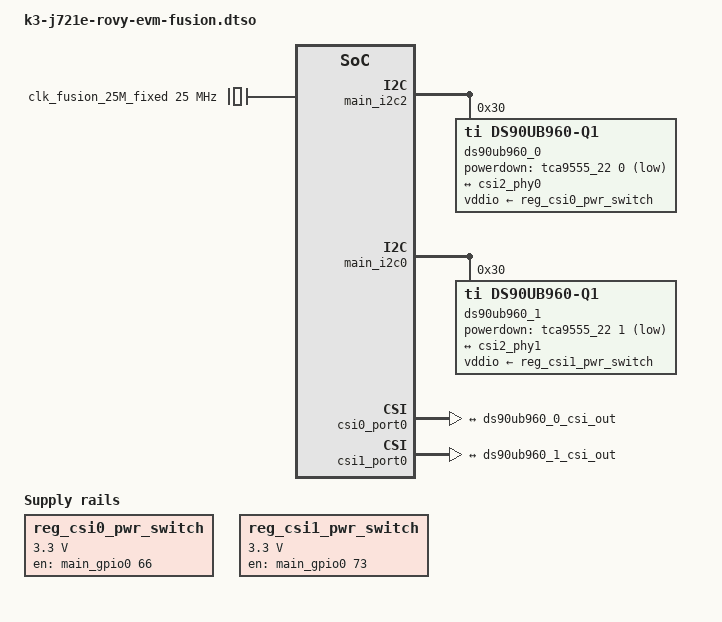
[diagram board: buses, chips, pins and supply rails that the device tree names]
// SPDX-License-Identifier: GPL-2.0
/*
 * DT Overlay for Fusion (FPD-Link III) board on J721E EVM
 * https://svtronics.com/portfolio/evm577pfusion-v1-0-fusion/
 *
 * Copyright (C) 2023 Texas Instruments Incorporated - http://www.ti.com/
 */

/dts-v1/;
/plugin/;

#include <dt-bindings/gpio/gpio.h>
#include <dt-bindings/interrupt-controller/irq.h>
#include "k3-pinctrl.h"

&{/} {
	clk_fusion_25M_fixed: fixed-clock-25M {
		compatible = "fixed-clock";
		#clock-cells = <0>;
		clock-frequency = <25000000>;
	};

	reg_csi0_pwr_switch: csi0_pwr_switch {
		compatible = "regulator-fixed";
		regulator-name = "csi0_pwr_switch";
		pinctrl-names = "default";
		pinctrl-0 = <&csi0_pwr_en_pins_default>;
		regulator-min-microvolt = <3300000>;
		regulator-max-microvolt = <3300000>;
		gpio = <&main_gpio0 66 GPIO_ACTIVE_HIGH>;
		startup-delay-us = <200000>;
		off-on-delay-us = <200000>;
		enable-active-high;
		regulator-boot-on;
	};

	reg_csi1_pwr_switch: csi1_pwr_switch {
		compatible = "regulator-fixed";
		regulator-name = "csi1_pwr_switch";
		pinctrl-names = "default";
		pinctrl-0 = <&csi1_pwr_en_pins_default>;
		regulator-min-microvolt = <3300000>;
		regulator-max-microvolt = <3300000>;
		gpio = <&main_gpio0 73 GPIO_ACTIVE_HIGH>;
		startup-delay-us = <200000>;
		off-on-delay-us = <200000>;
		enable-active-high;
		regulator-boot-on;
	};
};

&main_pmx0 {

	csi0_pwr_en_pins_default: csi0_pwr_en_pins_default {
		pinctrl-single,pins = <
			J721E_IOPAD(0x10c, PIN_OUTPUT, 7) /* (AC25) PRG0_PRU1_GPO3.GPIO0_66 */
		>;
	};

	csi1_pwr_en_pins_default: csi1_pwr_en_pins_default {
		pinctrl-single,pins = <
			J721E_IOPAD(0x128, PIN_OUTPUT, 7) /* (AA25) PRG0_PRU1_GPO10.GPIO0_73 */
		>;
	};
};

&main_i2c2 {
	#address-cells = <1>;
	#size-cells = <0>;
	status = "okay";

	ds90ub960_0: deser@30 {
		compatible = "ti,ds90ub960-q1";
		reg = <0x30>;
		clocks = <&clk_fusion_25M_fixed>;
		clock-names = "refclk";
		i2c-alias-pool = <0x4a 0x4b 0x4c 0x4d 0x4e 0x4f 0x50 0x51 0x52 0x53 0x54 0x55 0x56 0x57 0x58 0x59>;
		status = "okay";
		vddio-supply = <&reg_csi0_pwr_switch>;
		powerdown-gpios  = <&tca9555_22 0 GPIO_ACTIVE_LOW>;  /* CSI0_PDB */

		ds90ub960_0_ports: ports {
			#address-cells = <1>;
			#size-cells = <0>;

			/* CSI-2 TX */
			port@4 {
				reg = <4>;
				ds90ub960_0_csi_out: endpoint {
					clock-lanes = <0>;
					data-lanes = <1 2 3 4>;
					link-frequencies = /bits/ 64 <800000000>;
					remote-endpoint = <&csi2_phy0>;
				};
			};
		};

		ds90ub960_0_links: links {
			#address-cells = <1>;
			#size-cells = <0>;
		};
	};
};

&main_i2c0 {
	#address-cells = <1>;
	#size-cells = <0>;
	status = "okay";

	ds90ub960_1: deser@30 {
		compatible = "ti,ds90ub960-q1";
		reg = <0x30>;
		clocks = <&clk_fusion_25M_fixed>;
		clock-names = "refclk";
		i2c-alias-pool = <0x4a 0x4b 0x4c 0x4d 0x4e 0x4f 0x50 0x51 0x52 0x53 0x54 0x55 0x56 0x57 0x58 0x59>;
        vddio-supply = <&reg_csi1_pwr_switch>;
		powerdown-gpios  = <&tca9555_22 1 GPIO_ACTIVE_LOW>;  /*_PDB */

		status = "okay";
		ds90ub960_1_ports: ports {
			#address-cells = <1>;
			#size-cells = <0>;

			/* CSI-2 TX */
			port@4 {
				reg = <4>;
				ds90ub960_1_csi_out: endpoint {
					clock-lanes = <0>;
					data-lanes = <1 2 3 4>;
					link-frequencies = /bits/ 64 <800000000>;
					remote-endpoint = <&csi2_phy1>;
				};
			};
		};

		ds90ub960_1_links: links {
			#address-cells = <1>;
			#size-cells = <0>;
		};
	};
};

&csi0_port0 {
	status = "okay";

	csi2_phy0: endpoint {
		remote-endpoint = <&ds90ub960_0_csi_out>;
		clock-lanes = <0>;
		bus-type = <4>; /* CSI2 DPHY. */
		data-lanes = <1 2 3 4>;
		link-frequencies = /bits/ 64 <800000000>;
	};
};

&csi1_port0 {
	status = "okay";

	csi2_phy1: endpoint {
		remote-endpoint = <&ds90ub960_1_csi_out>;
		clock-lanes = <0>;
		bus-type = <4>; /* CSI2 DPHY. */
		data-lanes = <1 2 3 4>;
		link-frequencies = /bits/ 64 <800000000>;
	};
};
